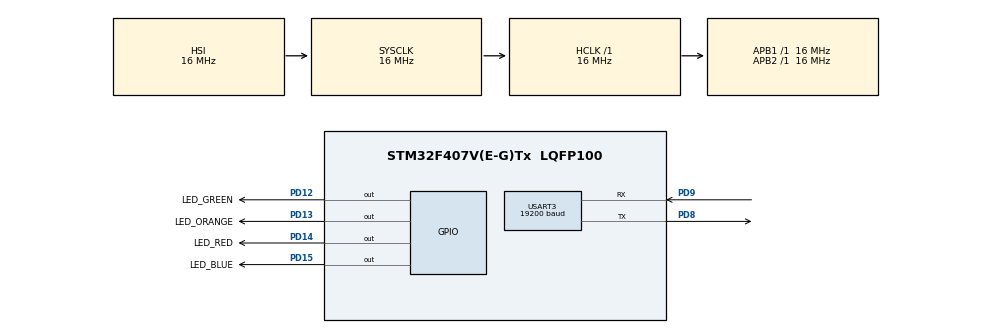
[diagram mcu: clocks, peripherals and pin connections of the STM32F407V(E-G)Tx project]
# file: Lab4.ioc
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Mcu.Family=STM32F4
Mcu.Name=STM32F407V(E-G)Tx
Mcu.Package=LQFP100
NVIC.PriorityGroup=NVIC_PRIORITYGROUP_4
NVIC.USART3_IRQn=true\:0\:0\:false\:false\:true\:true\:true\:true
PD12.GPIO_Label=LED_GREEN
PD12.Signal=GPIO_Output
PD13.GPIO_Label=LED_ORANGE
PD13.Signal=GPIO_Output
PD14.GPIO_Label=LED_RED
PD14.Signal=GPIO_Output
PD15.GPIO_Label=LED_BLUE
PD15.Signal=GPIO_Output
PD8.Mode=Asynchronous
PD8.Signal=USART3_TX
PD9.Mode=Asynchronous
PD9.Signal=USART3_RX
ProjectManager.HeapSize=0x200
ProjectManager.StackSize=0x400
ProjectManager.TargetToolchain=STM32CubeIDE
RCC.AHBFreq_Value=16000000
RCC.APB1Freq_Value=16000000
RCC.APB2Freq_Value=16000000
RCC.CortexFreq_Value=16000000
RCC.HSE_VALUE=25000000
RCC.HSI_VALUE=16000000
RCC.LSE_VALUE=32768
RCC.SYSCLKFreq_VALUE=16000000
RCC.VCOOutputFreq_Value=192000000
USART3.BaudRate=19200
USART3.VirtualMode=VM_ASYNC
board=custom

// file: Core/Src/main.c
/* USER CODE BEGIN Header */
/**
  ******************************************************************************
  * @file           : main.c
  * @brief          : Main program body
  ******************************************************************************
  * @attention
  *
  * Copyright (c) 2023 STMicroelectronics.
  * All rights reserved.
  *
  * This software is licensed under terms that can be found in the LICENSE file
  * in the root directory of this software component.
  * If no LICENSE file comes with this software, it is provided AS-IS.
  *
  ******************************************************************************
  */
/* USER CODE END Header */
#include "main.h"

/* USER CODE BEGIN Includes */
#include <string.h>
/* USER CODE END Includes */

UART_HandleTypeDef huart3;

/* USER CODE BEGIN PV */
uint8_t tmpBuf[1];
/* USER CODE END PV */

void SystemClock_Config(void);
static void MX_GPIO_Init(void);
static void MX_USART3_UART_Init(void);
/* USER CODE BEGIN PFP */

void HAL_UART_RxCpltCallback(UART_HandleTypeDef *huart)
{
	uint8_t rcvBuf[7] = {0};
	int i = 0;

	do {
		rcvBuf[i] = tmpBuf[0];
		HAL_UART_Receive(&huart3, tmpBuf, 1, 3000);
		i++;
	}
	while (tmpBuf[0] != '\r');

	char subrcvBuf1[3];
	char subrcvBuf2[5] = {0};
	strncpy(subrcvBuf1, (char *) rcvBuf, 3);
	strncpy(subrcvBuf2, (char *) rcvBuf+3, 4);
	if (!strcmp(subrcvBuf1, "on "))
	{
	  if (subrcvBuf2[0] == 'b'){
		 HAL_GPIO_WritePin(GPIOD, LED_BLUE_Pin, GPIO_PIN_SET);
		 HAL_UART_Transmit(&huart3, (uint8_t *)" - Blue LED is ON!\r\n", 20, 100);
	  }
	  else if (subrcvBuf2[0] == 'r'){
			 HAL_GPIO_WritePin(GPIOD, LED_RED_Pin, GPIO_PIN_SET);
			 HAL_UART_Transmit(&huart3, (uint8_t *)" - Red LED is ON!\r\n", 19, 100);
		  }
	  else if (subrcvBuf2[0] ==  'g'){
			 HAL_GPIO_WritePin(GPIOD, LED_GREEN_Pin, GPIO_PIN_SET);
			 HAL_UART_Transmit(&huart3, (uint8_t *)" - Green LED is ON!\r\n", 21, 100);
		  }
	  else if (subrcvBuf2[0] ==  'o'){
			 HAL_GPIO_WritePin(GPIOD, LED_ORANGE_Pin, GPIO_PIN_SET);
			 HAL_UART_Transmit(&huart3, (uint8_t *)" - Orange LED is ON!\r\n", 22, 100);
		  }
	  else if (!strcmp(subrcvBuf2, "all\0")){
			 HAL_GPIO_WritePin(GPIOD, LED_BLUE_Pin, GPIO_PIN_SET);
			 HAL_GPIO_WritePin(GPIOD, LED_RED_Pin, GPIO_PIN_SET);
			 HAL_GPIO_WritePin(GPIOD, LED_GREEN_Pin, GPIO_PIN_SET);
			 HAL_GPIO_WritePin(GPIOD, LED_ORANGE_Pin, GPIO_PIN_SET);
			 HAL_UART_Transmit(&huart3, (uint8_t *)" - All LEDs are ON!\r\n", 21, 100);
		  }
	  else {
		  HAL_UART_Transmit(&huart3, (uint8_t *)" - Can't find the LED!\r\n", 24, 100);
	  }
	}
	else if (!strcmp(subrcvBuf1, "off"))
	{
	  if (subrcvBuf2[1] == 'b'){
		 HAL_GPIO_WritePin(GPIOD, LED_BLUE_Pin, GPIO_PIN_RESET);
		 HAL_UART_Transmit(&huart3, (uint8_t *)" - Blue LED is OFF!\r\n", 21, 100);
	  }
	  else if (subrcvBuf2[1] == 'r'){
			 HAL_GPIO_WritePin(GPIOD, LED_RED_Pin, GPIO_PIN_RESET);
			 HAL_UART_Transmit(&huart3, (uint8_t *)" - Red LED is OFF!\r\n", 20, 100);
		  }
	  else if (subrcvBuf2[1] == 'g'){
			 HAL_GPIO_WritePin(GPIOD, LED_GREEN_Pin, GPIO_PIN_RESET);
			 HAL_UART_Transmit(&huart3, (uint8_t *)" - Green LED is OFF!\r\n", 22, 100);
		  }
	  else if (subrcvBuf2[1] == 'o'){
			 HAL_GPIO_WritePin(GPIOD, LED_ORANGE_Pin, GPIO_PIN_RESET);
			 HAL_UART_Transmit(&huart3, (uint8_t *)" - Orange LED is OFF!\r\n", 23, 100);
		  }
	  else if (!strcmp(subrcvBuf2, " all")){
			 HAL_GPIO_WritePin(GPIOD, LED_BLUE_Pin, GPIO_PIN_RESET);
			 HAL_GPIO_WritePin(GPIOD, LED_RED_Pin, GPIO_PIN_RESET);
			 HAL_GPIO_WritePin(GPIOD, LED_GREEN_Pin, GPIO_PIN_RESET);
			 HAL_GPIO_WritePin(GPIOD, LED_ORANGE_Pin, GPIO_PIN_RESET);
			 HAL_UART_Transmit(&huart3, (uint8_t *)" - All LEDs are OFF!\r\n", 22, 100);
		  }
	  else {
			HAL_UART_Transmit(&huart3, (uint8_t *)" - Can't find the LED!\r\n", 24, 100);
		}
	}
	else {
	  HAL_UART_Transmit(&huart3, (uint8_t *)" - Unexpected command!\r\n", 24, 100);
	}

	 HAL_UART_Receive_IT(&huart3, tmpBuf, 1);
}

/* USER CODE END PFP */

int main(void)
{

  /* MCU Configuration--------------------------------------------------------*/

  /* Reset of all peripherals, Initializes the Flash interface and the Systick. */
  HAL_Init();

  /* Configure the system clock */
  SystemClock_Config();

  /* Initialize all configured peripherals */
  MX_GPIO_Init();
  MX_USART3_UART_Init();
  /* USER CODE BEGIN 2 */
  HAL_UART_Receive_IT(&huart3, tmpBuf, 1);
  /* USER CODE END 2 */

  /* Infinite loop */
  while (1)
  {

  }
}

void SystemClock_Config(void)
{
  RCC_OscInitTypeDef RCC_OscInitStruct = {0};
  RCC_ClkInitTypeDef RCC_ClkInitStruct = {0};

  /** Configure the main internal regulator output voltage
  */
  __HAL_RCC_PWR_CLK_ENABLE();
  __HAL_PWR_VOLTAGESCALING_CONFIG(PWR_REGULATOR_VOLTAGE_SCALE1);

  /** Initializes the RCC Oscillators according to the specified parameters
  * in the RCC_OscInitTypeDef structure.
  */
  RCC_OscInitStruct.OscillatorType = RCC_OSCILLATORTYPE_HSI;
  RCC_OscInitStruct.HSIState = RCC_HSI_ON;
  RCC_OscInitStruct.HSICalibrationValue = RCC_HSICALIBRATION_DEFAULT;
  RCC_OscInitStruct.PLL.PLLState = RCC_PLL_NONE;
  if (HAL_RCC_OscConfig(&RCC_OscInitStruct) != HAL_OK)
  {
    Error_Handler();
  }

  /** Initializes the CPU, AHB and APB buses clocks
  */
  RCC_ClkInitStruct.ClockType = RCC_CLOCKTYPE_HCLK|RCC_CLOCKTYPE_SYSCLK
                              |RCC_CLOCKTYPE_PCLK1|RCC_CLOCKTYPE_PCLK2;
  RCC_ClkInitStruct.SYSCLKSource = RCC_SYSCLKSOURCE_HSI;
  RCC_ClkInitStruct.AHBCLKDivider = RCC_SYSCLK_DIV1;
  RCC_ClkInitStruct.APB1CLKDivider = RCC_HCLK_DIV1;
  RCC_ClkInitStruct.APB2CLKDivider = RCC_HCLK_DIV1;

  if (HAL_RCC_ClockConfig(&RCC_ClkInitStruct, FLASH_LATENCY_0) != HAL_OK)
  {
    Error_Handler();
  }
}

static void MX_USART3_UART_Init(void)
{

  huart3.Instance = USART3;
  huart3.Init.BaudRate = 19200;
  huart3.Init.WordLength = UART_WORDLENGTH_8B;
  huart3.Init.StopBits = UART_STOPBITS_1;
  huart3.Init.Parity = UART_PARITY_NONE;
  huart3.Init.Mode = UART_MODE_TX_RX;
  huart3.Init.HwFlowCtl = UART_HWCONTROL_NONE;
  huart3.Init.OverSampling = UART_OVERSAMPLING_16;
  if (HAL_UART_Init(&huart3) != HAL_OK)
  {
    Error_Handler();
  }

}

static void MX_GPIO_Init(void)
{
  GPIO_InitTypeDef GPIO_InitStruct = {0};

  /* GPIO Ports Clock Enable */
  __HAL_RCC_GPIOD_CLK_ENABLE();

  /*Configure GPIO pin Output Level */
  HAL_GPIO_WritePin(GPIOD, LED_GREEN_Pin|LED_ORANGE_Pin|LED_RED_Pin|LED_BLUE_Pin, GPIO_PIN_RESET);

  /*Configure GPIO pins : LED_GREEN_Pin LED_ORANGE_Pin LED_RED_Pin LED_BLUE_Pin */
  GPIO_InitStruct.Pin = LED_GREEN_Pin|LED_ORANGE_Pin|LED_RED_Pin|LED_BLUE_Pin;
  GPIO_InitStruct.Mode = GPIO_MODE_OUTPUT_PP;
  GPIO_InitStruct.Pull = GPIO_NOPULL;
  GPIO_InitStruct.Speed = GPIO_SPEED_FREQ_LOW;
  HAL_GPIO_Init(GPIOD, &GPIO_InitStruct);

}

void Error_Handler(void)
{
  __disable_irq();
  while (1)
  {
  }
}
